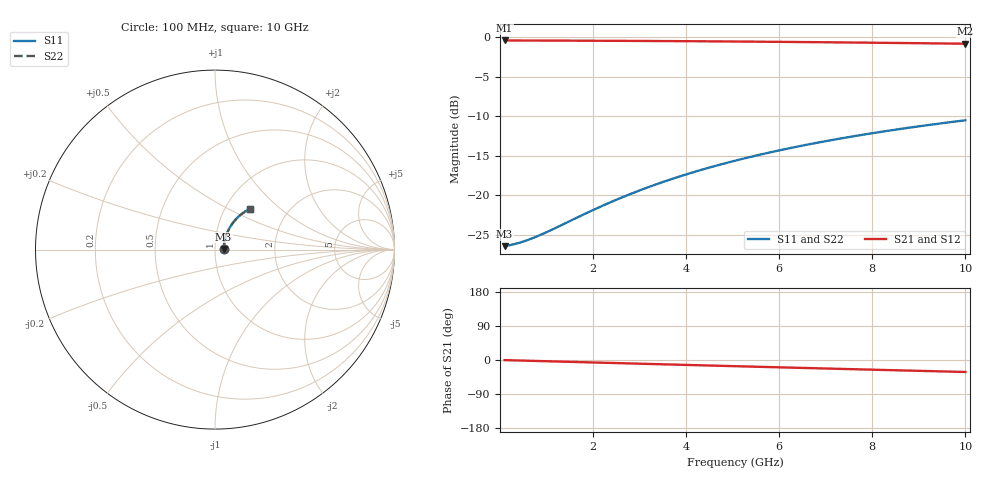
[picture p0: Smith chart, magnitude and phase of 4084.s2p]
# Hz S RI R 50.00
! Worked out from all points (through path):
!   100 points, 100 MHz to 10 GHz, reference 50 ohm
!   highest |S21| = -0.42 dB at 100 MHz (marker M1); lowest = -0.8 dB at 10 GHz (marker M2)
!   group delay of S21, straight-line fit = 8.8 ps
!   lowest |S11| = -26.4 dB at 100 MHz (marker M3), VSWR 1.10, Z = 55 + j0.323 ohm
!   |S11| at or under -10 dB: start of sweep to end of sweep
!   |S22| runs from -26.4 to -10.5 dB; largest |S21 - S12| = 0
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1e8  0.0476 0.00293  0.9524 -0.00542  0.9524 -0.00542  0.0476 0.00293
3e8  0.0482 0.00878  0.9518 -0.0163  0.9518 -0.0163  0.0482 0.00878
4e8  0.0485 0.0117  0.9514 -0.0217  0.9514 -0.0217  0.0485 0.0117
5e8  0.0488 0.0146  0.9511 -0.0271  0.9511 -0.0271  0.0488 0.0146
7e8  0.0495 0.0204  0.9504 -0.0379  0.9504 -0.0379  0.0495 0.0204
9e8  0.0502 0.0262  0.9495 -0.0487  0.9495 -0.0487  0.0502 0.0262
1.1e9  0.051 0.032  0.9485 -0.0594  0.9485 -0.0594  0.051 0.032
1.8e9  0.0549 0.0521  0.944 -0.0969  0.944 -0.0969  0.0549 0.0521
2.2e9  0.0578 0.0633  0.9406 -0.1182  0.9406 -0.1182  0.0578 0.0633
2.6e9  0.0611 0.0744  0.9367 -0.1392  0.9367 -0.1392  0.0611 0.0744
3e9  0.065 0.0854  0.9321 -0.1601  0.9321 -0.1601  0.065 0.0854
3.4e9  0.0693 0.0961  0.927 -0.1808  0.927 -0.1808  0.0693 0.0961
3.8e9  0.074 0.1066  0.9213 -0.2013  0.9213 -0.2013  0.074 0.1066
4.2e9  0.0792 0.1168  0.9151 -0.2215  0.9151 -0.2215  0.0792 0.1168
4.6e9  0.0849 0.1267  0.9083 -0.2414  0.9083 -0.2414  0.0849 0.1267
5.1e9  0.0925 0.1387  0.8991 -0.2659  0.8991 -0.2659  0.0925 0.1387
5.9e9  0.106 0.1569  0.8828 -0.3041  0.8828 -0.3041  0.106 0.1569
6.7e9  0.1209 0.1737  0.8646 -0.3409  0.8646 -0.3409  0.1209 0.1737
7.5e9  0.1371 0.1889  0.8447 -0.3762  0.8447 -0.3762  0.1371 0.1889
8.4e9  0.1566 0.2042  0.8205 -0.4139  0.8205 -0.4139  0.1566 0.2042
9.2e9  0.1749 0.2159  0.7976 -0.4458  0.7976 -0.4458  0.1749 0.2159
1e10  0.1939 0.2259  0.7735 -0.4759  0.7735 -0.4759  0.1939 0.2259
